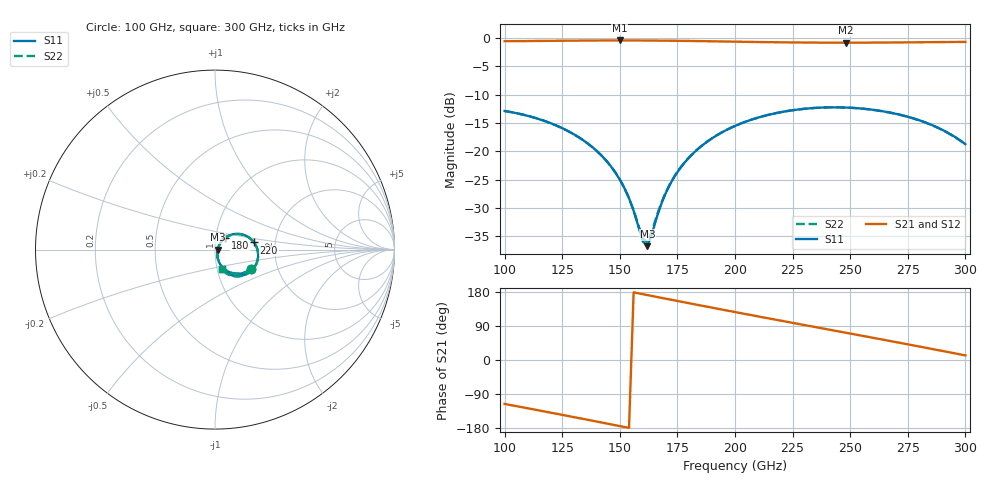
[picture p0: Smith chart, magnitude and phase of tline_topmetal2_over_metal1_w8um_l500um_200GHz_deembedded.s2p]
! Created with skrf 2.2.0 (http://scikit-rf.org).
# GHz S DB R 50.0
! Port[1] = P1
! Port[2] = P2
!freq dBS11 angS11 dBS21 angS21 dBS12 angS12 dBS22 angS22
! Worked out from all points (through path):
!   101 points, 100 GHz to 300 GHz, reference 50 ohm
!   highest |S21| = -0.42 dB at 150 GHz (marker M1); lowest = -0.8 dB at 248 GHz (marker M2)
!   group delay of S21, straight-line fit = 3.22 ps
!   lowest |S11| = -36.8 dB at 162 GHz (marker M3), VSWR 1.03, Z = 51.5 - j0.0338 ohm
!   |S11| at or under -10 dB: start of sweep to end of sweep
!   |S22| runs from -36.1 to -12.2 dB; largest |S21 - S12| = 1.6e-13
!   S11 on the Smith chart (normalised r, x): 100 GHz: 1.45, -0.33; 180 GHz: 1.11, +0.15; 220 GHz: 1.55, +0.13; 300 GHz: 1.06, -0.23
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100  -12.88 -28.6  -0.55 -115.9  -0.55 -115.9  -12.89 -28.5
118  -14.74 -47.3  -0.49 -136.6  -0.49 -136.6  -14.75 -47.2
134  -18.01 -63.1  -0.44 -155.4  -0.44 -155.4  -18.02 -62.7
142  -20.73 -69.7  -0.43 -164.8  -0.43 -164.8  -20.74 -69.1
150  -25.00 -72.9  -0.42 -174.4  -0.42 -174.4  -24.99 -72.0
154  -28.32 -70.3  -0.42 -179.1  -0.42 -179.1  -28.27 -68.8
156  -30.52 -65.8  -0.42 178.5  -0.42 178.5  -30.42 -63.8
160  -35.96 -35.3  -0.43 173.7  -0.43 173.7  -35.45 -32.9
162  -36.78 -1.3  -0.43 171.3  -0.43 171.3  -36.08 -1.3
164  -34.57 26.7  -0.44 168.9  -0.44 168.9  -34.08 24.8
168  -29.32 47.3  -0.45 164.2  -0.45 164.2  -29.13 45.5
174  -24.31 51.6  -0.48 157.0  -0.48 157.0  -24.23 50.4
180  -21.14 49.1  -0.51 149.9  -0.51 149.9  -21.10 48.1
188  -18.29 42.7  -0.56 140.5  -0.56 140.5  -18.27 41.9
200  -15.53 31.1  -0.63 126.6  -0.63 126.6  -15.52 30.4
210  -14.06 20.8  -0.70 115.1  -0.70 115.1  -14.05 20.2
220  -13.09 10.3  -0.75 103.7  -0.75 103.7  -13.08 9.7
234  -12.37 -4.4  -0.80 87.8  -0.80 87.8  -12.37 -5.0
248  -12.28 -19.1  -0.81 72.1  -0.81 72.1  -12.28 -19.7
268  -13.23 -39.7  -0.78 49.3  -0.78 49.3  -13.23 -40.5
286  -15.47 -57.5  -0.72 28.6  -0.72 28.6  -15.48 -58.7
300  -18.75 -69.3  -0.68 12.1  -0.68 12.1  -18.79 -71.1
